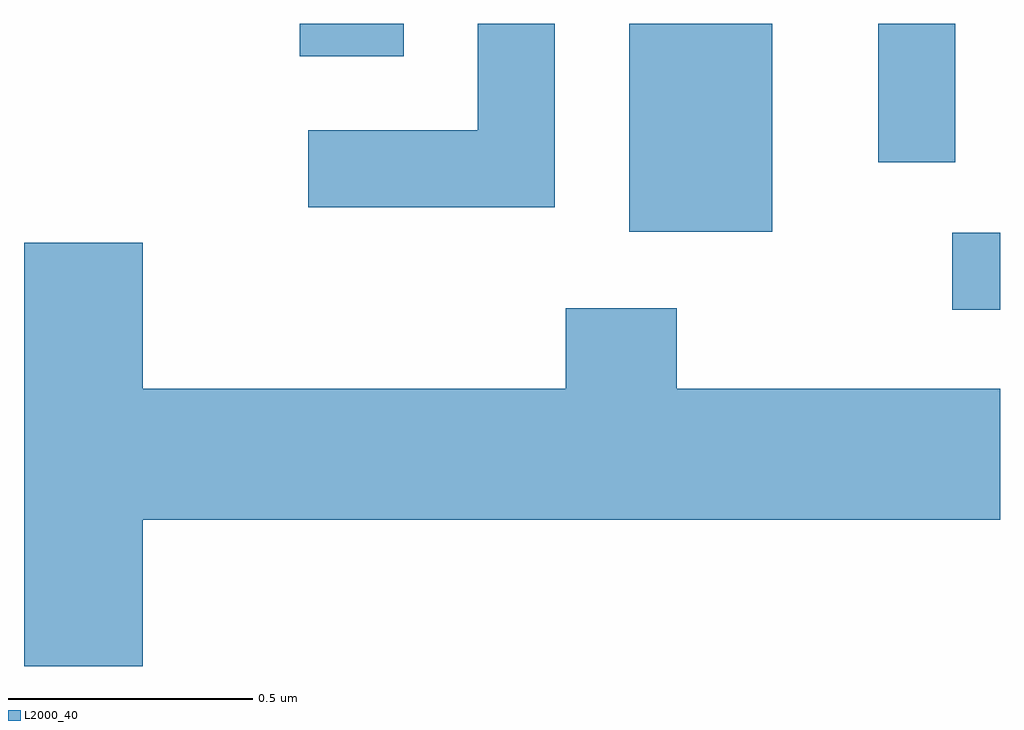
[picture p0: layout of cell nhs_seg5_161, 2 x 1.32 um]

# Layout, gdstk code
import gdstk
lib = gdstk.Library(unit=1e-6, precision=1e-09)
def R(c, l, rs):  # rectangles x0, y0, x1, y1
    for r in rs: c.add(gdstk.rectangle(r[:2], r[2:], *l))
def P(c, l, *ps):  # polygons
    for p in ps: c.add(gdstk.Polygon(p, *l))
L2000_40 = (2000, 40)

nhs_seg5_161 = lib.new_cell('nhs_seg5_161')
R(nhs_seg5_161, L2000_40, [(188.513,1419.486,188.611,1419.644), (187.851,1419.646,188.144,1420.072), (188.361,1419.788,188.519,1420.072), (187.176,1420.006,187.389,1420.072)])
P(nhs_seg5_161, L2000_40, [(187.699,1420.072),(187.541,1420.072),(187.541,1419.854),(187.193,1419.854),(187.193,1419.696),(187.699,1419.696)],
  [(186.854,1419.056),(188.611,1419.056),(188.611,1419.324),(187.949,1419.324),(187.949,1419.489),(187.721,1419.489),(187.721,1419.324),(186.854,1419.324),(186.854,1419.624),(186.611,1419.624),(186.611,1418.756),(186.854,1418.756)])

lib.write_gds('nhs_seg5_161.gds')
